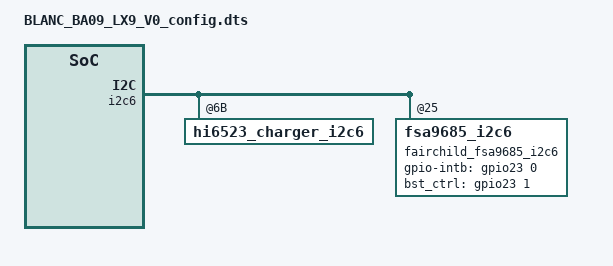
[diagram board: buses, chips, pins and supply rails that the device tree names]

/**
 * Copyright (C) 2014 Hisilicon Ltd.
 *
 *  This program is free software; you can redistribute it and/or modify
 *  it under the terms of the GNU General Public License version 2 as
 *  publishhed by the Free Software Foundation.
 */

/dts-v1/;
/include/ "fastboot.dtsi"
/include/ "BLANC_LX9_V3_9688_config.dtsi"
/include/ "BLANC_BA09_LX9_V0_pin.dtsi"
/include/ "BLANC_BA09_LX9_V0_sec_pin.dtsi"
/include/ "BLANC_BA09_LX9_V0_modem_pin.dtsi"

/ {
	hisi,boardid = <6 4 7 0>;
	hisi,boardname = "BLANC_BA09_LX9_V0";
	hisi,product_id = <0x39019400>;
	hisi,modem_id = <0x39019400>;
	direct_charger: direct_charger{
		scp_work_on_charger = <0>;
		status = "ok";
	};
	amba {
		i2c6: i2c@FFD6A000 {
			hi6523_charger_i2c6: hi6523_charger_i2c6@6B{
				status = "ok";
				fcp_support = <0>;
				scp_support = <0>;
				scp_need_extra_power = <0>;
				bst_ctrl_use_common_gpio = <0>;
			};
			fairchild_fsa9685_i2c6: fsa9685_i2c6@25{
				fairchild_fsa9685,gpio-intb = <&gpio23 0 0>;
				bst_ctrl = <&gpio23 1 0>;
				status = "ok";
			};
		};
	};
	devcheck: devcheck {
		usb_switch = <1>;
		status = "ok";
	};
	hisi_usb: hisi_usb@ff200000 {
		set_hi_impedance = <0x1>;
	};
};
